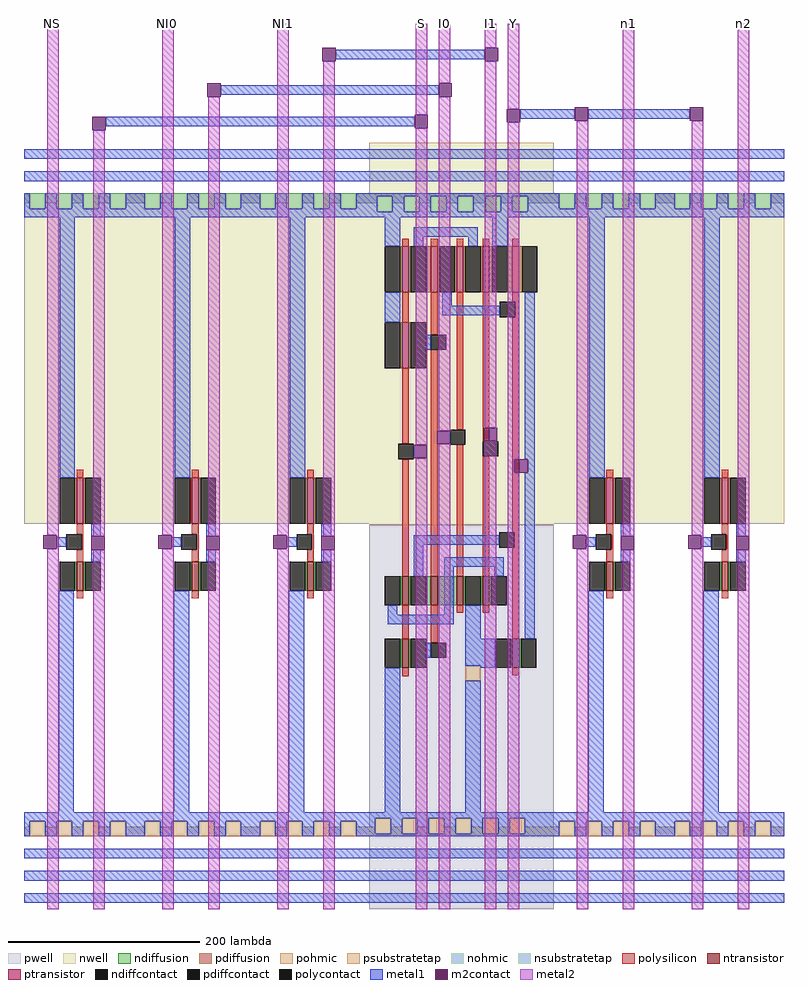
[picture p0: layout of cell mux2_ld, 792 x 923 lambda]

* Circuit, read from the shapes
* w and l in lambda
.subckt mux2_ld GND! I0 I1 NI0 NI1 NS S Vdd! Y n1 n2
M1 S NS GND! VSUBS nfet w=30 l=7
M2 I0 NI0 GND! VSUBS nfet w=30 l=7
M3 I1 NI1 GND! VSUBS nfet w=30 l=7
M4 n3 S GND! VSUBS nfet w=30 l=7
M5 n4 S n5 VSUBS nfet w=30 l=7
M6 n6 n3 n4 VSUBS nfet w=30 l=7
M7 n7 I0 n6 VSUBS nfet w=30 l=7
M8 n5 I1 n7 VSUBS nfet w=30 l=7
M9 Y n4 n7 VSUBS nfet w=30 l=7
M10 n1 Y GND! VSUBS nfet w=30 l=7
M11 n2 Y GND! VSUBS nfet w=30 l=7
M12 S NS Vdd! n8 pfet w=48 l=7
M13 I0 NI0 Vdd! n8 pfet w=48 l=7
M14 I1 NI1 Vdd! n8 pfet w=48 l=7
M15 n3 S Vdd! n8 pfet w=48 l=7
M16 n9 S Vdd! n8 pfet w=48 l=7
M17 n4 n3 n9 n8 pfet w=48 l=7
M18 n9 I0 n4 n8 pfet w=48 l=7
M19 Vdd! I1 n9 n8 pfet w=48 l=7
M20 Y n4 Vdd! n8 pfet w=48 l=7
M21 n1 Y Vdd! n8 pfet w=48 l=7
M22 n2 Y Vdd! n8 pfet w=48 l=7
.ends

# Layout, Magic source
magic
tech c035u
<< metal1 >>
rect 325 886 480 896
rect 205 849 432 859
rect 85 816 407 826
rect 517 824 574 834
rect 588 824 694 834
<< m2contact >>
rect 311 884 325 898
rect 480 884 494 898
rect 191 847 205 861
rect 432 847 446 861
rect 71 812 85 826
rect 407 814 421 828
rect 503 820 517 834
rect 574 822 588 836
rect 694 822 708 836
<< metal2 >>
rect 24 799 36 923
rect 72 799 84 812
rect 144 799 156 923
rect 192 799 204 847
rect 264 799 276 923
rect 312 799 324 884
rect 408 828 420 923
rect 432 861 444 923
rect 480 898 492 923
rect 408 799 420 814
rect 432 799 444 847
rect 480 799 492 884
rect 504 834 516 923
rect 504 799 516 820
rect 576 799 588 822
rect 624 799 636 923
rect 696 799 708 822
rect 744 799 756 923
use inv inv_0
transform 1 0 0 0 1 0
box 0 0 120 799
use inv inv_1
transform 1 0 120 0 1 0
box 0 0 120 799
use inv inv_2
transform 1 0 240 0 1 0
box 0 0 120 799
use mux2 mux2_0
transform 1 0 360 0 1 0
box 0 0 192 799
use inv inv_3
transform 1 0 552 0 1 0
box 0 0 120 799
use inv inv_4
transform 1 0 672 0 1 0
box 0 0 120 799
<< labels >>
rlabel metal2 408 923 420 923 5 S
rlabel metal2 432 923 444 923 5 I0
rlabel metal2 480 923 492 923 5 I1
rlabel metal2 504 923 516 923 5 Y
rlabel metal2 24 923 36 923 5 NS
rlabel metal2 144 923 156 923 5 NI0
rlabel metal2 264 923 276 923 5 NI1
rlabel metal2 624 923 636 923 5 n1
rlabel metal2 744 923 756 923 5 n2
<< end >>

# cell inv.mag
magic
tech c035u
<< nwell >>
rect 0 402 120 746
<< polysilicon >>
rect 55 450 62 458
rect 55 391 62 402
rect 60 375 62 391
rect 55 362 62 375
rect 55 324 62 332
<< ndiffusion >>
rect 53 332 55 362
rect 62 332 64 362
<< pdiffusion >>
rect 53 402 55 450
rect 62 402 64 450
<< pohmic >>
rect 0 76 6 86
rect 22 76 34 86
rect 50 76 62 86
rect 78 76 90 86
rect 106 76 120 86
<< nohmic >>
rect 0 736 6 746
rect 22 736 34 746
rect 50 736 62 746
rect 78 736 90 746
rect 106 736 120 746
<< ntransistor >>
rect 55 332 62 362
<< ptransistor >>
rect 55 402 62 450
<< polycontact >>
rect 44 375 60 391
<< ndiffcontact >>
rect 37 332 53 362
rect 64 332 80 362
<< pdiffcontact >>
rect 37 402 53 450
rect 64 402 80 450
<< psubstratetap >>
rect 6 76 22 92
rect 34 76 50 92
rect 62 76 78 92
rect 90 76 106 92
<< nsubstratetap >>
rect 6 730 22 746
rect 34 730 50 746
rect 62 730 78 746
rect 90 730 106 746
<< metal1 >>
rect 0 782 120 792
rect 0 759 120 769
rect 0 730 6 746
rect 22 730 34 746
rect 50 730 62 746
rect 78 730 90 746
rect 106 730 120 746
rect 0 721 120 730
rect 37 450 53 721
rect 34 378 44 388
rect 70 389 80 402
rect 70 362 80 375
rect 36 101 52 332
rect 0 92 120 101
rect 0 76 6 92
rect 22 76 34 92
rect 50 76 62 92
rect 78 76 90 92
rect 106 76 120 92
rect 0 53 120 63
rect 0 30 120 40
rect 0 7 120 17
<< m2contact >>
rect 20 376 34 390
rect 70 375 84 389
<< metal2 >>
rect 24 390 36 799
rect 34 376 36 390
rect 72 389 84 799
rect 24 0 36 376
rect 72 0 84 375
<< labels >>
rlabel metal1 0 721 0 746 7 Vdd!
rlabel metal1 0 759 0 769 7 Scan
rlabel metal1 0 782 0 792 6 ScanReturn
rlabel metal1 120 721 120 746 7 Vdd!
rlabel metal1 120 759 120 769 7 Scan
rlabel metal1 120 782 120 792 6 ScanReturn
rlabel metal2 24 799 36 799 5 A
rlabel metal2 72 799 84 799 5 Y
rlabel metal1 0 76 0 101 7 GND!
rlabel metal1 0 53 0 63 7 Clock
rlabel metal1 0 30 0 40 7 Test
rlabel metal1 0 7 0 17 8 nReset
rlabel metal1 120 7 120 17 8 nReset
rlabel metal1 120 30 120 40 7 Test
rlabel metal1 120 53 120 63 7 Clock
rlabel metal1 120 76 120 101 7 GND!
rlabel metal2 24 0 36 0 1 A
rlabel metal2 72 0 84 0 1 Y
<< end >>

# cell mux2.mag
magic
tech c035u
<< nwell >>
rect 0 401 192 799
<< pwell >>
rect 0 0 192 401
<< polysilicon >>
rect 34 691 41 699
rect 64 691 71 699
rect 91 691 98 699
rect 118 691 125 699
rect 149 691 156 699
rect 34 612 41 643
rect 64 599 71 643
rect 34 485 41 564
rect 34 347 41 469
rect 64 347 71 583
rect 91 500 98 643
rect 118 488 125 643
rect 149 633 156 643
rect 152 617 156 633
rect 91 347 98 484
rect 118 347 125 472
rect 149 393 156 617
rect 151 377 156 393
rect 34 282 41 317
rect 64 278 71 317
rect 91 309 98 317
rect 118 309 125 317
rect 149 282 156 377
rect 34 243 41 252
rect 149 244 156 252
<< ndiffusion >>
rect 32 317 34 347
rect 41 317 43 347
rect 59 317 64 347
rect 71 317 91 347
rect 98 317 100 347
rect 116 317 118 347
rect 125 317 127 347
rect 32 252 34 282
rect 41 252 43 282
rect 147 252 149 282
rect 156 252 158 282
<< pdiffusion >>
rect 32 643 34 691
rect 41 643 43 691
rect 59 643 64 691
rect 71 643 73 691
rect 89 643 91 691
rect 98 643 100 691
rect 116 643 118 691
rect 125 643 128 691
rect 144 643 149 691
rect 156 643 159 691
rect 32 564 34 612
rect 41 564 43 612
<< pohmic >>
rect 0 79 6 86
rect 22 79 34 86
rect 50 79 62 86
rect 78 79 90 86
rect 106 79 118 86
rect 134 79 146 86
rect 162 79 192 86
rect 0 76 192 79
<< nohmic >>
rect 0 743 192 746
rect 0 736 8 743
rect 24 736 36 743
rect 52 736 64 743
rect 80 736 92 743
rect 108 736 121 743
rect 137 736 149 743
rect 165 736 192 743
<< ntransistor >>
rect 34 317 41 347
rect 64 317 71 347
rect 91 317 98 347
rect 118 317 125 347
rect 34 252 41 282
rect 149 252 156 282
<< ptransistor >>
rect 34 643 41 691
rect 64 643 71 691
rect 91 643 98 691
rect 118 643 125 691
rect 149 643 156 691
rect 34 564 41 612
<< polycontact >>
rect 64 583 80 599
rect 30 469 46 485
rect 84 484 100 500
rect 136 617 152 633
rect 118 472 134 488
rect 135 377 151 393
rect 64 262 80 278
<< ndiffcontact >>
rect 16 317 32 347
rect 43 317 59 347
rect 100 317 116 347
rect 127 317 143 347
rect 16 252 32 282
rect 43 252 59 282
rect 131 252 147 282
rect 158 252 174 282
<< pdiffcontact >>
rect 16 643 32 691
rect 43 643 59 691
rect 73 643 89 691
rect 100 643 116 691
rect 128 643 144 691
rect 159 643 175 691
rect 16 564 32 612
rect 43 564 59 612
<< psubstratetap >>
rect 100 238 116 254
rect 6 79 22 95
rect 34 79 50 95
rect 62 79 78 95
rect 90 79 106 95
rect 118 79 134 95
rect 146 79 162 95
<< nsubstratetap >>
rect 8 727 24 743
rect 36 727 52 743
rect 64 727 80 743
rect 92 727 108 743
rect 121 727 137 743
rect 149 727 165 743
<< metal1 >>
rect 0 782 192 792
rect 0 759 192 769
rect 0 743 192 746
rect 0 727 8 743
rect 24 727 36 743
rect 52 727 64 743
rect 80 727 92 743
rect 108 727 121 743
rect 137 727 149 743
rect 165 727 192 743
rect 0 721 192 727
rect 16 691 32 721
rect 46 701 113 711
rect 46 691 56 701
rect 103 691 113 701
rect 128 691 144 721
rect 16 612 32 643
rect 76 629 86 643
rect 76 619 136 629
rect 59 583 64 599
rect 162 469 172 643
rect 165 455 172 469
rect 46 380 135 390
rect 46 347 56 380
rect 78 357 140 367
rect 19 307 29 317
rect 78 307 88 357
rect 130 347 140 357
rect 19 297 88 307
rect 100 282 116 317
rect 162 282 172 455
rect 59 262 64 278
rect 100 254 131 282
rect 16 101 32 252
rect 116 252 131 254
rect 100 101 116 238
rect 0 95 192 101
rect 0 79 6 95
rect 22 79 34 95
rect 50 79 62 95
rect 78 79 90 95
rect 106 79 118 95
rect 134 79 146 95
rect 162 79 192 95
rect 0 76 192 79
rect 0 53 192 63
rect 0 30 192 40
rect 0 7 192 17
<< m2contact >>
rect 70 485 84 499
rect 119 488 133 502
rect 46 470 60 484
rect 151 455 165 469
<< metal2 >>
rect 48 484 60 799
rect 72 499 84 799
rect 120 502 132 799
rect 48 0 60 470
rect 72 0 84 485
rect 120 0 132 488
rect 144 469 156 799
rect 144 455 151 469
rect 144 0 156 455
<< labels >>
rlabel metal1 0 76 0 101 1 GND!
rlabel metal1 0 7 0 17 2 nReset
rlabel metal1 0 30 0 40 3 Test
rlabel metal1 0 53 0 63 3 Clock
rlabel metal2 48 0 60 0 1 S
rlabel metal2 144 0 156 0 1 Y
rlabel metal2 72 0 84 0 1 I0
rlabel metal1 0 721 0 746 3 Vdd!
rlabel metal1 0 759 0 769 3 Scan
rlabel metal1 0 782 0 792 4 ScanReturn
rlabel metal2 48 799 60 799 5 S
rlabel metal2 144 799 156 799 5 Y
rlabel metal2 120 799 132 799 5 I1
rlabel metal2 72 799 84 799 5 I0
rlabel metal1 192 76 192 101 7 GND!
rlabel metal1 192 7 192 17 8 nReset
rlabel metal1 192 30 192 40 7 Test
rlabel metal1 192 53 192 63 7 Clock
rlabel metal1 192 721 192 746 7 Vdd!
rlabel metal1 192 782 192 792 6 ScanReturn
rlabel metal1 192 759 192 769 7 Scan
rlabel metal2 120 0 132 0 1 I1
<< end >>
